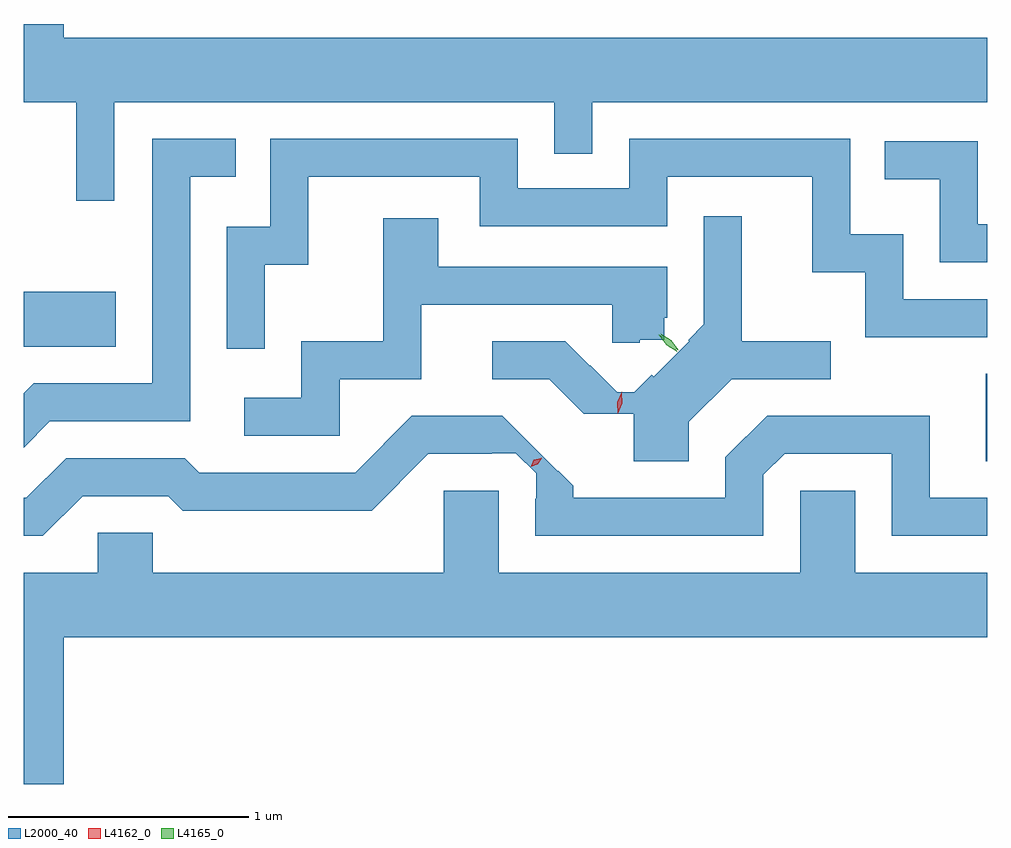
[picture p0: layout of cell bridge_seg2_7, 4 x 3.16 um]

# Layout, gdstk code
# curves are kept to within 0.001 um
import gdstk
lib = gdstk.Library(unit=1e-6, precision=1e-09)
def R(c, l, rs):  # rectangles x0, y0, x1, y1
    for r in rs: c.add(gdstk.rectangle(r[:2], r[2:], *l))
def P(c, l, *ps):  # polygons
    for p in ps: c.add(gdstk.Polygon(p, *l))
L2000_40 = (2000, 40)
L4162_0 = (4162, 0)
L4165_0 = (4165, 0)

bridge_seg2_7 = lib.new_cell('bridge_seg2_7')
R(bridge_seg2_7, L2000_40, [(1737.651,1102.326,1737.658,1102.689), (1733.658,1102.801,1734.039,1103.029)])
P(bridge_seg2_7, L2000_40, [(1734.034,1103.816),(1735.861,1103.816),(1735.861,1103.603),(1736.019,1103.603),(1736.019,1103.816),(1737.658,1103.816),(1737.658,1104.084),(1733.824,1104.084),(1733.824,1104.141),(1733.658,1104.141),(1733.658,1103.816),(1733.876,1103.816),(1733.876,1103.408),(1734.034,1103.408)],
  [(1734.659,1103.141),(1734.839,1103.141),(1734.839,1103.506),(1735.551,1103.506),(1735.551,1103.301),(1736.329,1103.301),(1736.329,1103.506),(1736.931,1103.506),(1736.931,1103.111),(1737.151,1103.111),(1737.151,1102.841),(1737.658,1102.841),(1737.658,1102.999),(1737.309,1102.999),(1737.309,1103.269),(1737.089,1103.269),(1737.089,1103.664),(1736.171,1103.664),(1736.171,1103.459),(1735.709,1103.459),(1735.709,1103.664),(1734.681,1103.664),(1734.681,1103.299),(1734.501,1103.299),(1734.501,1102.793),(1734.659,1102.793)],
  [(1733.767,1102.491),(1734.349,1102.491),(1734.349,1103.506),(1734.538,1103.506),(1734.538,1103.664),(1734.191,1103.664),(1734.191,1102.649),(1733.699,1102.649),(1733.658,1102.608),(1733.658,1102.382)],
  [(1737.658,1103.309),(1737.619,1103.309),(1737.619,1103.654),(1737.233,1103.654),(1737.233,1103.496),(1737.461,1103.496),(1737.461,1103.151),(1737.658,1103.151)],
  [(1736.419,1102.489),(1736.597,1102.666),(1737.008,1102.666),(1737.008,1102.824),(1736.639,1102.824),(1736.639,1103.343),(1736.481,1103.343),(1736.481,1102.894),(1736.416,1102.829),(1736.421,1102.823),(1736.274,1102.676),(1736.265,1102.685),(1736.192,1102.612),(1736.122,1102.612),(1736.009,1102.725),(1736.007,1102.723),(1735.907,1102.824),(1735.603,1102.824),(1735.603,1102.666),(1735.839,1102.666),(1735.982,1102.523),(1736.191,1102.523),(1736.191,1102.326),(1736.419,1102.326)],
  [(1734.969,1102.666),(1735.309,1102.666),(1735.309,1102.976),(1736.101,1102.976),(1736.101,1102.817),(1736.215,1102.817),(1736.215,1102.831),(1736.318,1102.831),(1736.318,1102.921),(1736.329,1102.921),(1736.329,1103.134),(1735.379,1103.134),(1735.379,1103.334),(1735.151,1103.334),(1735.151,1102.824),(1734.811,1102.824),(1734.811,1102.589),(1734.573,1102.589),(1734.573,1102.431),(1734.969,1102.431)],
  [(1733.902,1102.181),(1734.259,1102.181),(1734.319,1102.121),(1735.102,1102.121),(1735.337,1102.356),(1735.435,1102.356),(1735.435,1102.358),(1735.601,1102.358),(1735.601,1102.36),(1735.701,1102.36),(1735.785,1102.276),(1735.785,1102.17),(1735.781,1102.17),(1735.781,1102.016),(1736.729,1102.016),(1736.729,1102.269),(1736.817,1102.356),(1737.261,1102.356),(1737.261,1102.016),(1737.658,1102.016),(1737.658,1102.174),(1737.419,1102.174),(1737.419,1102.514),(1736.744,1102.514),(1736.571,1102.342),(1736.571,1102.174),(1735.939,1102.174),(1735.939,1102.224),(1735.876,1102.287),(1735.874,1102.285),(1735.644,1102.514),(1735.269,1102.514),(1735.034,1102.279),(1734.387,1102.279),(1734.327,1102.339),(1733.834,1102.339),(1733.669,1102.174),(1733.658,1102.174),(1733.658,1102.016),(1733.737,1102.016)],
  [(1733.824,1101.596),(1737.658,1101.596),(1737.658,1101.864),(1737.109,1101.864),(1737.109,1102.204),(1736.881,1102.204),(1736.881,1101.864),(1735.629,1101.864),(1735.629,1102.204),(1735.401,1102.204),(1735.401,1101.864),(1734.194,1101.864),(1734.194,1102.029),(1733.966,1102.029),(1733.966,1101.864),(1733.658,1101.864),(1733.658,1100.986),(1733.824,1100.986)])
P(bridge_seg2_7, L4162_0, [(1735.762,1102.302),(1735.762,1102.302),(1735.78,1102.328),(1735.808,1102.34),(1735.809,1102.34),(1735.809,1102.339),(1735.792,1102.313),(1735.763,1102.302)],
  [(1736.126,1102.53),(1736.123,1102.57),(1736.138,1102.608),(1736.138,1102.608),(1736.139,1102.608),(1736.142,1102.568),(1736.127,1102.53),(1736.127,1102.53)],
  [(1735.767,1102.312),(1735.767,1102.312),(1735.776,1102.332),(1735.797,1102.337),(1735.798,1102.337),(1735.798,1102.336),(1735.789,1102.317),(1735.768,1102.312)],
  [(1736.123,1102.524),(1736.122,1102.571),(1736.14,1102.613),(1736.141,1102.614),(1736.141,1102.613),(1736.142,1102.567),(1736.124,1102.524),(1736.124,1102.524)])
P(bridge_seg2_7, L4165_0, [(1736.372,1102.78),(1736.327,1102.808),(1736.295,1102.851),(1736.295,1102.852),(1736.296,1102.852),(1736.341,1102.823),(1736.372,1102.78),(1736.372,1102.78)],
  [(1736.375,1102.787),(1736.332,1102.814),(1736.303,1102.855),(1736.303,1102.856),(1736.303,1102.856),(1736.346,1102.828),(1736.376,1102.788),(1736.376,1102.787)])

lib.write_gds('bridge_seg2_7.gds')
